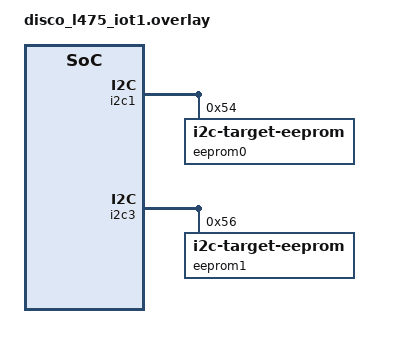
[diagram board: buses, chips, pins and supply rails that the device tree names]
/*
 * Copyright (c) 2026 STMicroelectronics
 *
 * SPDX-License-Identifier: Apache-2.0
 */

/* I2C bus pins are exposed on the STMod+.
 *
 *  Bus        SDA               SCL
 *          Pin   Hdr         Pin   Hdr
 *  i2c1    PB9   CN1:9      PB8  CN1:10
 *  i2c3    PC1   CN4:5      PC0  CN4:6
 *
 * Short Pin PB9 to PC1, and PB8 to PC0, for the test to pass.
 */

#define IC2_TEST_0_DMA_TX <&dma1 6 3 (STM32_DMA_PERIPH_TX | STM32_DMA_PRIORITY_HIGH)>
#define IC2_TEST_0_DMA_RX <&dma1 7 3 (STM32_DMA_PERIPH_RX | STM32_DMA_PRIORITY_HIGH)>

i2c_test_0: &i2c1 {
	dmas = IC2_TEST_0_DMA_TX, IC2_TEST_0_DMA_RX;
	dma-names = "tx", "rx";

	eeprom0: eeprom@54 {
		compatible = "zephyr,i2c-target-eeprom";
		reg = <0x54>;
		size = <256>;
	};
};

#define IC2_TEST_1_DMA_TX <&dma1 2 3 (STM32_DMA_PERIPH_TX | STM32_DMA_PRIORITY_HIGH)>
#define IC2_TEST_1_DMA_RX <&dma1 3 3 (STM32_DMA_PERIPH_RX | STM32_DMA_PRIORITY_HIGH)>

i2c_test_1: &i2c3 {
	dmas = IC2_TEST_1_DMA_TX, IC2_TEST_1_DMA_RX;
	dma-names = "tx", "rx";

	eeprom1: eeprom@56 {
		compatible = "zephyr,i2c-target-eeprom";
		reg = <0x56>;
		size = <256>;
	};
};
